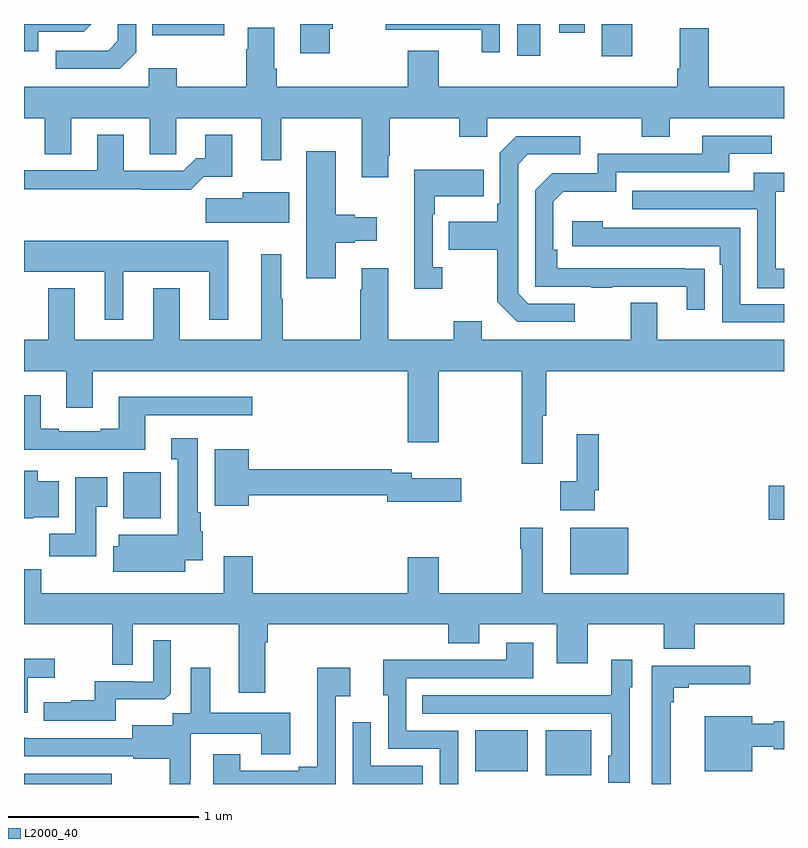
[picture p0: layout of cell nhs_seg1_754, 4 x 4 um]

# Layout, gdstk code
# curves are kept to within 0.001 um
import gdstk
lib = gdstk.Library(unit=1e-6, precision=1e-09)
def R(c, l, rs):  # rectangles x0, y0, x1, y1
    for r in rs: c.add(gdstk.rectangle(r[:2], r[2:], *l))
def P(c, l, *ps):  # polygons
    for p in ps: c.add(gdstk.Polygon(p, *l))
L2000_40 = (2000, 40)

nhs_seg1_754 = lib.new_cell('nhs_seg1_754')
R(nhs_seg1_754, L2000_40, [(151,576.199,151.462,576.252), (153.746,576.245,153.985,576.481), (153.374,576.266,153.652,576.481), (153.875,577.304,154.18,577.549), (154.92,577.591,155,577.769), (151.523,577.598,151.72,577.84), (154.04,580.029,154.201,580.199), (153.596,580.032,153.718,580.199), (151.675,580.139,152.053,580.199), (153.818,580.152,153.952,580.199)])
P(nhs_seg1_754, L2000_40, [(153.504,580.199),(152.904,580.199),(152.904,580.169),(153.408,580.169),(153.408,580.05),(153.504,580.05)],
  [(152.608,580.173),(152.626,580.173),(152.626,580.199),(152.453,580.199),(152.453,580.044),(152.608,580.044)],
  [(151.074,580.158),(151.314,580.158),(151.355,580.199),(151,580.199),(151,580.056),(151.074,580.056)],
  [(151.59,580.05),(151.59,580.199),(151.494,580.199),(151.494,580.11),(151.443,580.059),(151.167,580.059),(151.167,579.963),(151.503,579.963)],
  [(152.917,579.505),(152.925,579.505),(152.925,579.704),(153.292,579.704),(153.292,579.605),(153.438,579.605),(153.438,579.704),(154.252,579.704),(154.252,579.605),(154.399,579.605),(154.399,579.704),(155,579.704),(155,579.868),(154.604,579.868),(154.604,580.177),(154.451,580.177),(154.451,579.964),(154.439,579.964),(154.439,579.868),(153.184,579.868),(153.184,580.057),(153.02,580.057),(153.02,579.868),(152.33,579.868),(152.33,579.964),(152.317,579.964),(152.317,580.18),(152.177,580.18),(152.177,580.067),(152.17,580.067),(152.17,579.868),(151.803,579.868),(151.803,579.967),(151.656,579.967),(151.656,579.868),(151,579.868),(151,579.704),(151.109,579.704),(151.109,579.514),(151.249,579.514),(151.249,579.704),(151.661,579.704),(151.661,579.514),(151.8,579.514),(151.8,579.704),(152.249,579.704),(152.249,579.483),(152.353,579.483),(152.353,579.704),(152.777,579.704),(152.777,579.393),(152.917,579.393)],
  [(151.946,579.395),(152.095,579.395),(152.095,579.616),(151.955,579.616),(151.955,579.493),(151.906,579.493),(151.839,579.426),(151.525,579.426),(151.525,579.616),(151.385,579.616),(151.385,579.429),(151,579.429),(151,579.328),(151.621,579.328),(151.621,579.326),(151.877,579.326)],
  [(154.583,578.912),(153.806,578.913),(153.806,579.01),(153.786,579.01),(153.786,579.264),(153.839,579.317),(154.116,579.317),(154.116,579.42),(154.711,579.42),(154.711,579.516),(154.936,579.516),(154.936,579.612),(154.571,579.612),(154.571,579.516),(154.02,579.516),(154.02,579.414),(153.78,579.414),(153.69,579.324),(153.69,578.817),(153.985,578.817),(153.985,578.812),(154.097,578.812),(154.097,578.817),(154.487,578.817),(154.487,578.694),(154.583,578.694)],
  [(153.898,578.727),(153.654,578.727),(153.6,578.781),(153.6,579.462),(153.651,579.513),(153.928,579.513),(153.928,579.609),(153.591,579.609),(153.504,579.522),(153.504,579.253),(153.492,579.253),(153.492,579.157),(153.235,579.157),(153.235,579.01),(153.492,579.01),(153.492,578.737),(153.597,578.631),(153.898,578.631)],
  [(152.641,579.047),(152.741,579.047),(152.741,579.059),(152.857,579.059),(152.857,579.181),(152.741,579.181),(152.741,579.194),(152.641,579.194),(152.641,579.529),(152.486,579.529),(152.486,578.862),(152.641,578.862)],
  [(153.202,578.918),(153.15,578.918),(153.15,579.197),(153.163,579.197),(153.163,579.293),(153.419,579.293),(153.419,579.433),(153.053,579.433),(153.053,578.805),(153.202,578.805)],
  [(155,578.91),(154.956,578.91),(154.956,579.315),(155,579.315),(155,579.415),(154.841,579.415),(154.841,579.321),(154.201,579.321),(154.201,579.225),(154.86,579.225),(154.86,578.809),(155,578.809)],
  [(152.395,579.313),(152.15,579.313),(152.15,579.281),(151.956,579.281),(151.956,579.152),(152.395,579.152)],
  [(155,578.724),(154.77,578.724),(154.77,579.126),(154.046,579.126),(154.046,579.16),(153.885,579.16),(153.885,579.03),(154.661,579.03),(154.661,578.933),(154.674,578.933),(154.674,578.628),(155,578.628)],
  [(151.522,578.894),(151.976,578.894),(151.976,578.643),(152.074,578.643),(152.074,579.058),(151,579.058),(151,578.894),(151.424,578.894),(151.424,578.643),(151.522,578.643)],
  [(151.267,578.809),(151.127,578.809),(151.127,578.536),(151,578.536),(151,578.372),(151.223,578.372),(151.223,578.178),(151.363,578.178),(151.363,578.372),(153.02,578.372),(153.02,577.998),(153.184,577.998),(153.184,578.372),(153.621,578.372),(153.621,577.884),(153.731,577.884),(153.731,578.136),(153.749,578.136),(153.749,578.372),(155,578.372),(155,578.536),(154.333,578.536),(154.333,578.731),(154.193,578.731),(154.193,578.536),(153.409,578.536),(153.409,578.635),(153.262,578.635),(153.262,578.536),(152.917,578.536),(152.917,578.914),(152.777,578.914),(152.777,578.801),(152.77,578.801),(152.77,578.536),(152.363,578.536),(152.363,578.753),(152.353,578.753),(152.353,578.986),(152.249,578.986),(152.249,578.536),(151.819,578.536),(151.819,578.809),(151.679,578.809),(151.679,578.536),(151.267,578.536)],
  [(151.639,578.139),(152.2,578.139),(152.2,578.236),(151.499,578.236),(151.499,578.068),(151.403,578.068),(151.403,578.055),(151.183,578.055),(151.183,578.068),(151.087,578.068),(151.087,578.245),(151,578.245),(151,577.958),(151.639,577.958)],
  [(154.005,577.744),(154.025,577.744),(154.025,578.041),(153.908,578.041),(153.908,577.793),(153.822,577.793),(153.822,577.64),(154.005,577.64)],
  [(151.849,577.376),(151.942,577.376),(151.942,577.53),(151.93,577.53),(151.93,577.63),(151.915,577.63),(151.915,578.02),(151.775,578.02),(151.775,577.907),(151.808,577.907),(151.808,577.51),(151.499,577.51),(151.499,577.451),(151.469,577.451),(151.469,577.316),(151.849,577.316)],
  [(152.182,577.72),(152.912,577.72),(152.912,577.685),(153.301,577.685),(153.301,577.807),(153.04,577.807),(153.04,577.836),(152.936,577.836),(152.936,577.856),(152.182,577.856),(152.182,577.96),(152.003,577.96),(152.003,577.664),(152.182,577.664)],
  [(151.05,577.604),(151.183,577.604),(151.183,577.792),(151.072,577.792),(151.072,577.849),(151,577.849),(151,577.598),(151.05,577.598)],
  [(151.381,577.657),(151.438,577.657),(151.438,577.813),(151.271,577.813),(151.271,577.516),(151.132,577.516),(151.132,577.398),(151.381,577.398)],
  [(152.269,576.944),(152.282,576.944),(152.282,577.04),(153.233,577.04),(153.233,576.941),(153.397,576.941),(153.397,577.04),(153.803,577.04),(153.803,576.834),(153.967,576.834),(153.967,577.04),(154.367,577.04),(154.367,576.912),(154.531,576.912),(154.531,577.04),(155,577.04),(155,577.204),(153.73,577.204),(153.73,577.549),(153.613,577.549),(153.613,577.436),(153.621,577.436),(153.621,577.204),(153.184,577.204),(153.184,577.393),(153.02,577.393),(153.02,577.204),(152.204,577.204),(152.204,577.399),(152.051,577.399),(152.051,577.204),(151.091,577.204),(151.091,577.328),(151,577.328),(151,577.04),(151.464,577.04),(151.464,576.826),(151.572,576.826),(151.572,577.04),(152.129,577.04),(152.129,576.678),(152.269,576.678)],
  [(151.483,576.644),(151.741,576.644),(151.773,576.675),(151.773,576.955),(151.68,576.955),(151.68,576.738),(151.58,576.738),(151.58,576.741),(151.373,576.741),(151.373,576.64),(151.249,576.64),(151.249,576.628),(151.105,576.628),(151.105,576.531),(151.483,576.531)],
  [(153.285,576.48),(153.012,576.48),(153.012,576.756),(153.679,576.756),(153.679,576.943),(153.539,576.943),(153.539,576.852),(153.109,576.852),(153.109,576.854),(152.891,576.854),(152.891,576.666),(152.916,576.666),(152.916,576.384),(153.189,576.384),(153.189,576.199),(153.285,576.199)],
  [(151.02,576.758),(151.162,576.758),(151.162,576.857),(151,576.857),(151,576.573),(151.02,576.573)],
  [(154.188,576.708),(154.201,576.708),(154.201,576.853),(154.092,576.853),(154.092,576.667),(153.775,576.667),(153.775,576.666),(153.097,576.666),(153.097,576.57),(154.092,576.57),(154.092,576.348),(154.076,576.348),(154.076,576.205),(154.188,576.205)],
  [(154.403,576.629),(154.421,576.629),(154.421,576.706),(154.498,576.706),(154.498,576.725),(154.822,576.725),(154.822,576.822),(154.305,576.822),(154.305,576.199),(154.403,576.199)],
  [(152.64,576.662),(152.716,576.662),(152.716,576.811),(152.543,576.811),(152.543,576.289),(152.447,576.289),(152.447,576.27),(152.137,576.27),(152.137,576.355),(151.997,576.355),(151.997,576.199),(152.64,576.199)],
  [(151.876,576.223),(151.878,576.223),(151.878,576.464),(152.249,576.464),(152.249,576.355),(152.401,576.355),(152.401,576.574),(151.981,576.574),(151.981,576.811),(151.877,576.811),(151.877,576.572),(151.782,576.572),(151.782,576.508),(151.571,576.508),(151.571,576.441),(151.013,576.441),(151.013,576.442),(151,576.442),(151,576.345),(151.575,576.345),(151.575,576.333),(151.767,576.333),(151.767,576.199),(151.876,576.199)],
  [(154.834,576.395),(154.947,576.395),(154.947,576.383),(155,576.383),(155,576.53),(154.947,576.53),(154.947,576.517),(154.834,576.517),(154.834,576.556),(154.583,576.556),(154.583,576.266),(154.834,576.266)],
  [(153.099,576.294),(152.826,576.294),(152.826,576.523),(152.73,576.523),(152.73,576.199),(153.099,576.199)])

lib.write_gds('nhs_seg1_754.gds')
